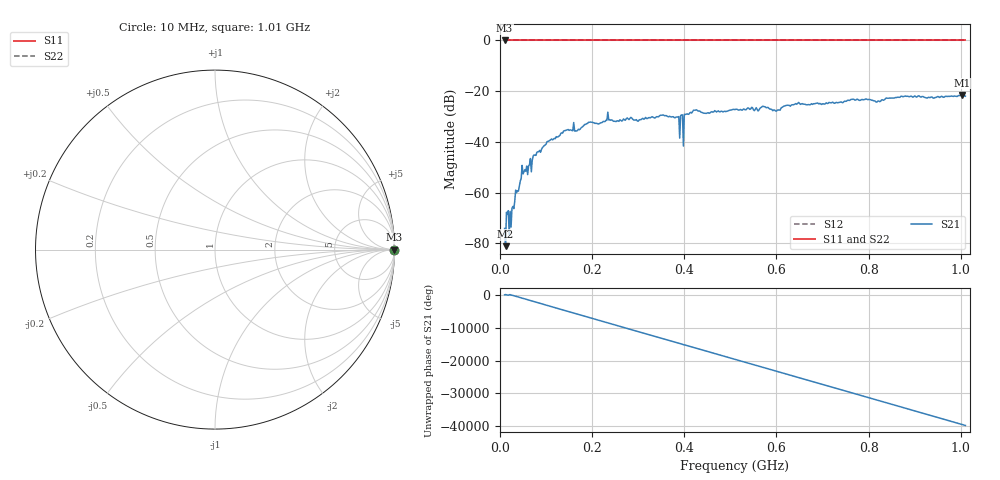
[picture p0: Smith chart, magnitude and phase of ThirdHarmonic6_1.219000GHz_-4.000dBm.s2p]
! 8/16/2025 12:46:06 PM
! C:\ANRITSUVNA\TEMP\TEMP.S2P
! CHANNEL.1
! TR.MEASUREMENT
! RAW.DATA
! RF.CORRECTION.OFF
! AVERAGING.OFF
! IF.BANDWIDTH: 5KHZ
! SWEEPTYPE:  FREQ.SWEEP(Linear)
! Reference Plane Port Info
! PORT:  PORT1  PORT2
! DISTANCE:  0  m  0  m
! TIME:  0  s  0  s
! PHASE.OFFSET:  0  deg.  0  deg.
! LOSS:  0  dB  0  dB
! REF.LOSS:  0  dB  0  dB
! REF.FREQ:  0  Hz  0  Hz
! Power Info
! POWER:  -20  dBm  -20  dBm
! EFF.POWER:  -20  dBm  -20  dBm
! SOURCE.ATTEN:  0  dB  0  dB
! TEST.ATTEN:  0  dB  0  dB
# GHZ S RI R 50.0
! FREQ.GHZ  S11RE  S11IM  S21RE  S21IM  S12RE  S12IM  S22RE  S22IM
!; PortSelection: Port_12
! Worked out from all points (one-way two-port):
!   501 points, 10 MHz to 1.01 GHz, reference 50 ohm
!   highest |S21| = -21.48 dB at 1.002 GHz (marker M1); lowest = -81.2 dB at 12 MHz (marker M2)
!   lowest |S11| = 0.0 dB at 10 MHz (marker M3)
!   |S11| at or under -10 dB: nowhere
!   |S22| runs from 0.0 to 0.0 dB; largest |S21 - S12| = 1.1
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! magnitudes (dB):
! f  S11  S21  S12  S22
! 10 MHz  0.0  -74.2  0.0  0.0
! 12 MHz  0.0  -81.2  0.0  0.0
! 18 MHz  0.0  -67.2  0.0  0.0
! 24 MHz  0.0  -73.7  0.0  0.0
! 30 MHz  0.0  -66.4  0.0  0.0
! 50 MHz  0.0  -52.7  0.0  0.0
! 64 MHz  0.0  -49.1  0.0  0.0
! 76 MHz  0.0  -45.3  0.0  0.0
! 142 MHz  0.0  -35.5  0.0  0.0
! 178 MHz  0.0  -34.2  0.0  0.0
! 234 MHz  0.0  -28.3  0.0  0.0
! 344 MHz  0.0  -30.1  0.0  0.0
! 384 MHz  0.0  -30.2  0.0  0.0
! 392 MHz  0.0  -29.6  0.0  0.0
! 394 MHz  0.0  -29.4  0.0  0.0
! 404 MHz  0.0  -29.1  0.0  0.0
! 422 MHz  0.0  -27.5  0.0  0.0
! 510 MHz  0.0  -27.3  0.0  0.0
! 678 MHz  0.0  -25.2  0.0  0.0
! 844 MHz  0.0  -22.8  0.0  0.0
! 1.002 GHz  0.0  -21.5  0.0  0.0
! 1.01 GHz  0.0  -22.0  0.0  0.0
